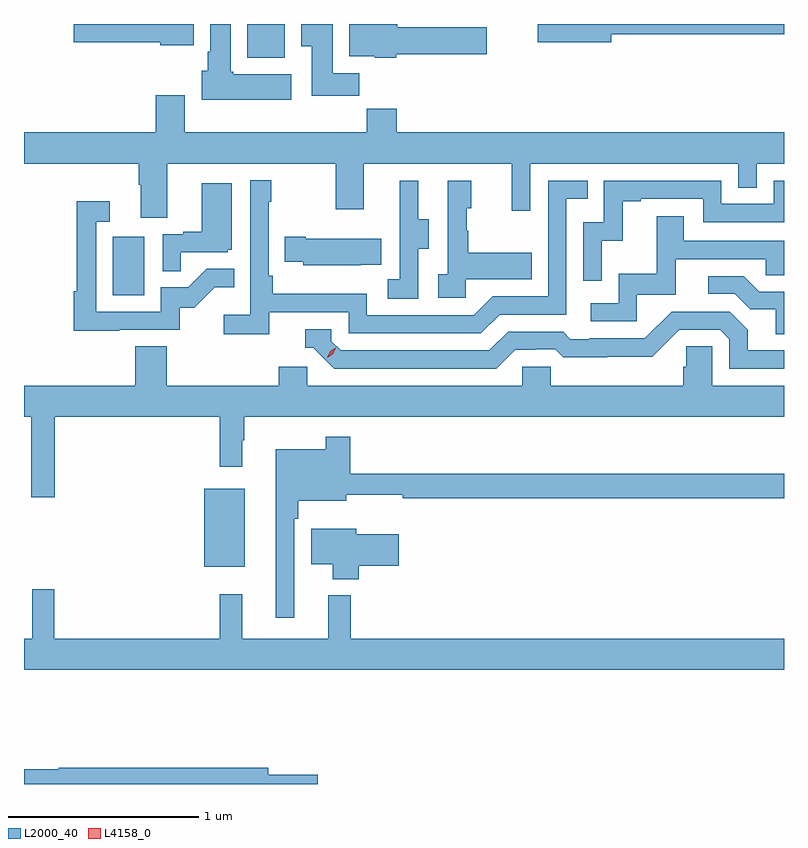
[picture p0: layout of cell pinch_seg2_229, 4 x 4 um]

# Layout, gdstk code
import gdstk
lib = gdstk.Library(unit=1e-6, precision=1e-09)
def R(c, l, rs):  # rectangles x0, y0, x1, y1
    for r in rs: c.add(gdstk.rectangle(r[:2], r[2:], *l))
def P(c, l, *ps):  # polygons
    for p in ps: c.add(gdstk.Polygon(p, *l))
L2000_40 = (2000, 40)
L4158_0 = (4158, 0)

pinch_seg2_229 = lib.new_cell('pinch_seg2_229')
R(pinch_seg2_229, L2000_40, [(933.476,657.503,933.691,657.913), (932.996,658.932,933.16,659.239), (933.704,660.182,933.901,660.359)])
P(pinch_seg2_229, L2000_40, [(934.488,660.199),(934.963,660.199),(934.963,660.341),(934.492,660.341),(934.492,660.359),(934.241,660.359),(934.241,660.188),(934.374,660.188),(934.374,660.182),(934.488,660.182)],
  [(933.421,660.359),(932.79,660.359),(932.79,660.262),(933.246,660.262),(933.246,660.248),(933.421,660.248)],
  [(935.62,660.304),(936.528,660.304),(936.528,660.359),(935.232,660.359),(935.232,660.262),(935.62,660.262)],
  [(933.934,660.094),(933.63,660.094),(933.63,660.108),(933.616,660.108),(933.616,660.359),(933.509,660.359),(933.509,660.214),(933.494,660.214),(933.494,660.114),(933.464,660.114),(933.464,659.96),(933.934,659.96)],
  [(934.292,660.1),(934.153,660.1),(934.153,660.359),(933.986,660.359),(933.986,660.241),(934.043,660.241),(934.043,659.982),(934.292,659.982)],
  [(933.283,659.624),(934.168,659.624),(934.168,659.385),(934.315,659.385),(934.315,659.624),(935.096,659.624),(935.096,659.376),(935.193,659.376),(935.193,659.624),(936.288,659.624),(936.288,659.497),(936.384,659.497),(936.384,659.624),(936.528,659.624),(936.528,659.788),(934.49,659.788),(934.49,659.912),(934.333,659.912),(934.333,659.788),(933.373,659.788),(933.373,659.983),(933.221,659.983),(933.221,659.788),(932.528,659.788),(932.528,659.624),(933.131,659.624),(933.131,659.512),(933.143,659.512),(933.143,659.338),(933.283,659.338)],
  [(933.818,658.842),(934.236,658.842),(934.236,658.731),(934.933,658.731),(935.032,658.83),(935.382,658.83),(935.382,659.439),(935.495,659.439),(935.495,659.535),(935.286,659.535),(935.286,658.926),(934.995,658.926),(934.896,658.827),(934.332,658.827),(934.332,658.939),(933.836,658.939),(933.836,659.035),(933.816,659.035),(933.816,659.423),(933.829,659.423),(933.829,659.536),(933.72,659.536),(933.72,658.828),(933.579,658.828),(933.579,658.726),(933.818,658.726)],
  [(935.568,659.219),(935.678,659.219),(935.678,659.427),(935.773,659.427),(935.773,659.439),(936.102,659.439),(936.102,659.316),(936.528,659.316),(936.528,659.535),(936.474,659.535),(936.474,659.412),(936.198,659.412),(936.198,659.535),(935.58,659.535),(935.58,659.316),(935.472,659.316),(935.472,659.007),(935.568,659.007)],
  [(934.854,659.015),(935.201,659.015),(935.201,659.155),(934.867,659.155),(934.867,659.27),(934.857,659.27),(934.857,659.388),(934.882,659.388),(934.882,659.533),(934.758,659.533),(934.758,659.042),(934.707,659.042),(934.707,658.917),(934.854,658.917)],
  [(934.602,659.176),(934.657,659.176),(934.657,659.331),(934.603,659.331),(934.603,659.533),(934.505,659.533),(934.505,659.319),(934.506,659.319),(934.506,659.015),(934.443,659.015),(934.443,658.912),(934.602,658.912)],
  [(933.353,659.157),(933.6,659.157),(933.6,659.172),(933.622,659.172),(933.622,659.521),(933.464,659.521),(933.464,659.266),(933.365,659.266),(933.365,659.253),(933.258,659.253),(933.258,659.059),(933.353,659.059)],
  [(933.029,658.749),(933.348,658.749),(933.348,658.866),(933.424,658.866),(933.531,658.973),(933.635,658.973),(933.635,659.072),(933.491,659.072),(933.393,658.974),(933.249,658.974),(933.249,658.845),(932.907,658.845),(932.907,659.319),(932.98,659.319),(932.98,659.425),(932.806,659.425),(932.806,658.952),(932.791,658.952),(932.791,658.744),(933.029,658.744)],
  [(935.754,658.935),(935.959,658.935),(935.959,659.121),(936.433,659.121),(936.433,659.037),(936.528,659.037),(936.528,659.217),(936.001,659.217),(936.001,659.347),(935.857,659.347),(935.857,659.044),(935.658,659.044),(935.658,658.89),(935.511,658.89),(935.511,658.794),(935.754,658.794)],
  [(934.301,659.093),(934.409,659.093),(934.409,659.23),(934.012,659.23),(934.012,659.238),(933.901,659.238),(933.901,659.108),(933.999,659.108),(933.999,659.09),(934.301,659.09)],
  [(936.528,658.95),(936.397,658.95),(936.316,659.031),(936.129,659.031),(936.129,658.938),(936.27,658.938),(936.35,658.858),(936.485,658.858),(936.485,658.726),(936.528,658.726)],
  [(935.113,658.644),(935.22,658.644),(935.22,658.647),(935.323,658.647),(935.365,658.605),(935.598,658.605),(935.598,658.607),(935.834,658.607),(935.976,658.749),(936.192,658.749),(936.24,658.701),(936.24,658.545),(936.528,658.545),(936.528,658.641),(936.337,658.641),(936.337,658.751),(936.243,658.845),(935.937,658.845),(935.796,658.704),(935.503,658.704),(935.503,658.701),(935.404,658.701),(935.365,658.74),(935.076,658.74),(934.977,658.641),(934.194,658.641),(934.146,658.689),(934.146,658.752),(934.007,658.752),(934.007,658.656),(934.05,658.656),(934.161,658.545),(935.014,658.545)],
  [(932.69,658.292),(933.559,658.292),(933.559,658.029),(933.676,658.029),(933.676,658.169),(933.688,658.169),(933.688,658.292),(936.528,658.292),(936.528,658.456),(936.15,658.456),(936.15,658.664),(936.013,658.664),(936.013,658.554),(935.999,658.554),(935.999,658.456),(935.301,658.456),(935.301,658.554),(935.151,658.554),(935.151,658.456),(934.02,658.456),(934.02,658.554),(933.869,658.554),(933.869,658.456),(933.278,658.456),(933.278,658.664),(933.113,658.664),(933.113,658.456),(932.528,658.456),(932.528,658.292),(932.567,658.292),(932.567,657.867),(932.69,657.867)],
  [(933.951,657.755),(933.971,657.755),(933.971,657.851),(934.225,657.851),(934.225,657.881),(934.521,657.881),(934.521,657.862),(936.528,657.862),(936.528,657.991),(934.244,657.991),(934.244,658.186),(934.116,658.186),(934.116,658.12),(933.854,658.12),(933.854,657.234),(933.951,657.234)],
  [(934.289,657.508),(934.501,657.508),(934.501,657.673),(934.276,657.673),(934.276,657.703),(934.04,657.703),(934.04,657.515),(934.154,657.515),(934.154,657.437),(934.289,657.437)],
  [(936.528,657.124),(934.247,657.124),(934.247,657.352),(934.13,657.352),(934.13,657.124),(933.677,657.124),(933.677,657.358),(933.559,657.358),(933.559,657.124),(932.687,657.124),(932.687,657.385),(932.571,657.385),(932.571,657.124),(932.528,657.124),(932.528,656.96),(936.528,656.96)],
  [(934.075,656.408),(933.814,656.408),(933.814,656.444),(932.71,656.444),(932.71,656.437),(932.528,656.437),(932.528,656.359),(934.075,656.359)])
P(pinch_seg2_229, L4158_0, [(934.123,658.603),(934.123,658.603),(934.139,658.636),(934.17,658.655),(934.17,658.655),(934.17,658.655),(934.154,658.622),(934.123,658.603)])

lib.write_gds('pinch_seg2_229.gds')
